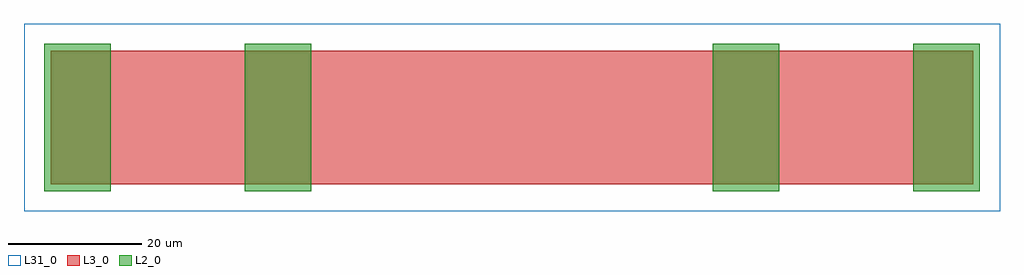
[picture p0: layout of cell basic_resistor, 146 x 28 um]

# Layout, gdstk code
import gdstk
lib = gdstk.Library(unit=1e-6, precision=5e-10)
def R(c, l, rs):  # rectangles x0, y0, x1, y1
    for r in rs: c.add(gdstk.rectangle(r[:2], r[2:], *l))
L2_0 = (2, 0)
L3_0 = (3, 0)
L31_0 = (31, 0)

basic_resistor = lib.new_cell('basic_resistor')
R(basic_resistor, L2_0, [(-1,-1,9,21), (29,-1,39,21), (99,-1,109,21), (129,-1,139,21)])
R(basic_resistor, L3_0, [(0,0,138,20)])
R(basic_resistor, L31_0, [(-4,-4,142,24)])

lib.write_gds('basic_resistor.gds')
